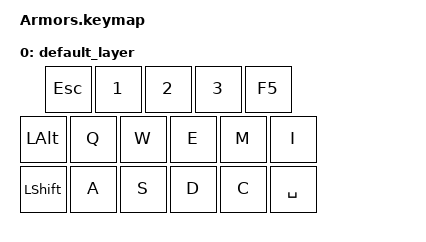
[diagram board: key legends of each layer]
/*
 * Copyright (c) 2022 The ZMK Contributors
 *
 * SPDX-License-Identifier: MIT
 */

#include <behaviors.dtsi>
#include <dt-bindings/zmk/keys.h>
#include <dt-bindings/zmk/bt.h>
#include <dt-bindings/zmk/outputs.h>

#define DEFAULT 0

/ {
    keymap {
        compatible = "zmk,keymap";

        default_layer {
            bindings = <
                    &kp ESC  &kp 1  &kp 2  &kp 3  &kp F5
                &kp LALT  &kp Q  &kp W  &kp E  &kp M  &kp I
                &kp LSHFT  &kp A  &kp S  &kp D  &kp C  &kp SPACE
            >;
        };
    };
};
